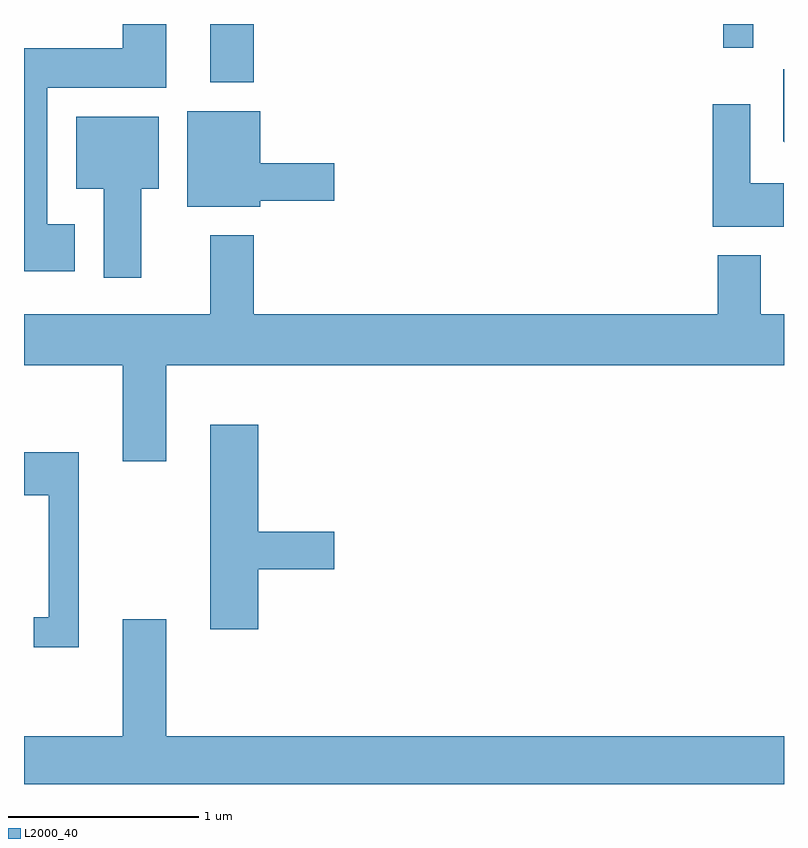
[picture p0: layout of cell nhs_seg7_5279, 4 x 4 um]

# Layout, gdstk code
import gdstk
lib = gdstk.Library(unit=1e-6, precision=1e-09)
def R(c, l, rs):  # rectangles x0, y0, x1, y1
    for r in rs: c.add(gdstk.rectangle(r[:2], r[2:], *l))
def P(c, l, *ps):  # polygons
    for p in ps: c.add(gdstk.Polygon(p, *l))
L2000_40 = (2000, 40)

nhs_seg7_5279 = lib.new_cell('nhs_seg7_5279')
R(nhs_seg7_5279, L2000_40, [(346.591,1797.946,346.819,1798.252), (349.291,1798.128,349.449,1798.252)])
P(nhs_seg7_5279, L2000_40, [(345.879,1797.199),(345.734,1797.199),(345.734,1797.916),(346.359,1797.916),(346.359,1798.252),(346.131,1798.252),(346.131,1798.124),(345.611,1798.124),(345.611,1796.951),(345.879,1796.951)],
  [(349.611,1798.014),(349.606,1798.014),(349.606,1797.634),(349.611,1797.629)],
  [(349.609,1797.414),(349.434,1797.414),(349.434,1797.829),(349.236,1797.829),(349.236,1797.186),(349.609,1797.186)],
  [(346.854,1797.321),(347.244,1797.321),(347.244,1797.519),(346.854,1797.519),(346.854,1797.794),(346.471,1797.794),(346.471,1797.291),(346.854,1797.291)],
  [(346.229,1797.386),(346.319,1797.386),(346.319,1797.764),(345.886,1797.764),(345.886,1797.386),(346.031,1797.386),(346.031,1796.916),(346.229,1796.916)],
  [(346.359,1796.456),(349.611,1796.456),(349.611,1796.724),(349.489,1796.724),(349.489,1797.034),(349.261,1797.034),(349.261,1796.724),(346.819,1796.724),(346.819,1797.139),(346.591,1797.139),(346.591,1796.724),(345.611,1796.724),(345.611,1796.456),(346.131,1796.456),(346.131,1795.951),(346.359,1795.951)],
  [(346.844,1795.381),(347.244,1795.381),(347.244,1795.579),(346.844,1795.579),(346.844,1796.144),(346.591,1796.144),(346.591,1795.066),(346.844,1795.066)],
  [(345.899,1795.999),(345.611,1795.999),(345.611,1795.771),(345.741,1795.771),(345.741,1795.129),(345.663,1795.129),(345.663,1794.971),(345.899,1794.971)],
  [(346.359,1795.119),(346.131,1795.119),(346.131,1794.504),(345.611,1794.504),(345.611,1794.252),(349.611,1794.252),(349.611,1794.504),(346.359,1794.504)])

lib.write_gds('nhs_seg7_5279.gds')
